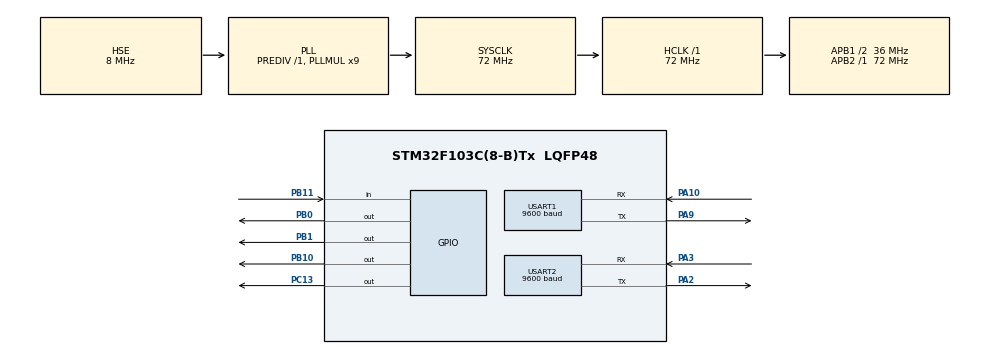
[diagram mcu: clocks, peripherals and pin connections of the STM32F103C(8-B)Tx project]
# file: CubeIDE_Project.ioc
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Mcu.Family=STM32F1
Mcu.Name=STM32F103C(8-B)Tx
Mcu.Package=LQFP48
NVIC.PriorityGroup=NVIC_PRIORITYGROUP_4
NVIC.TIM3_IRQn=true\:3\:0\:true\:false\:true\:true\:true\:true
NVIC.USART2_IRQn=true\:2\:0\:true\:false\:true\:true\:true\:true
PA10.Mode=Asynchronous
PA10.Signal=USART1_RX
PA13.Mode=Serial_Wire
PA13.Signal=SYS_JTMS-SWDIO
PA14.Mode=Serial_Wire
PA14.Signal=SYS_JTCK-SWCLK
PA2.Mode=Asynchronous
PA2.Signal=USART2_TX
PA3.Mode=Asynchronous
PA3.Signal=USART2_RX
PA9.Mode=Asynchronous
PA9.Signal=USART1_TX
PB0.Signal=GPIO_Output
PB1.Signal=GPIO_Output
PB10.Signal=GPIO_Output
PB11.GPIO_PuPd=GPIO_PULLUP
PB11.Signal=GPIO_Input
PC13-TAMPER-RTC.Signal=GPIO_Output
PD0-OSC_IN.Mode=HSE-External-Oscillator
PD0-OSC_IN.Signal=RCC_OSC_IN
PD1-OSC_OUT.Mode=HSE-External-Oscillator
PD1-OSC_OUT.Signal=RCC_OSC_OUT
ProjectManager.HeapSize=0x200
ProjectManager.StackSize=0x400
ProjectManager.TargetToolchain=STM32CubeIDE
RCC.AHBFreq_Value=72000000
RCC.APB1CLKDivider=RCC_HCLK_DIV2
RCC.APB1Freq_Value=36000000
RCC.APB1TimFreq_Value=72000000
RCC.APB2Freq_Value=72000000
RCC.APB2TimFreq_Value=72000000
RCC.HCLKFreq_Value=72000000
RCC.PLLMUL=RCC_PLL_MUL9
RCC.PLLSourceVirtual=RCC_PLLSOURCE_HSE
RCC.SYSCLKFreq_VALUE=72000000
RCC.SYSCLKSource=RCC_SYSCLKSOURCE_PLLCLK
RCC.USBFreq_Value=72000000
TIM3.AutoReloadPreload=TIM_AUTORELOAD_PRELOAD_ENABLE
TIM3.Period=999
TIM3.Prescaler=71
USART1.BaudRate=9600
USART1.VirtualMode=VM_ASYNC
USART2.BaudRate=9600
USART2.VirtualMode=VM_ASYNC
VP_TIM3_VS_ClockSourceINT.Mode=Internal
board=custom

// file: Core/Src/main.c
/* USER CODE BEGIN Header */
/**
  ******************************************************************************
  * @file           : main.c
  * @brief          : Main program body
  ******************************************************************************
  * @attention
  *
  * Copyright (c) 2026 STMicroelectronics.
  * All rights reserved.
  *
  * This software is licensed under terms that can be found in the LICENSE file
  * in the root directory of this software component.
  * If no LICENSE file comes with this software, it is provided AS-IS.
  *
  ******************************************************************************
  */
/* USER CODE END Header */
#include "main.h"
#include "tim.h"
#include "usart.h"
#include "gpio.h"

/* USER CODE BEGIN Includes */
#include "reader_hal.h"
#include "stdio.h"
/* USER CODE END Includes */

void SystemClock_Config(void);

/* USER CODE BEGIN 0 */

// 简易协议测试函数
void SC_Protocol_Test(void)
{
    uint8_t data = 0;
    // 卡复位流程
    printf("智能卡复位\r\n");
    SC_VCC_ON(); HAL_Delay(100);
    SC_CLK_ON(); HAL_Delay(100);
    SC_RST_HIGH(); SC_IO_IN();
    SC_Timeout_Start(500);
    // 模拟接收ATR
    for(uint8_t i=0; i<5; i++) { SC_RecvByte(&data); HAL_Delay(50); }
    SC_Timeout_Stop();
    // APDU指令发送
    printf("APDU交互\r\n");
    uint8_t apdu[] = {0x00,0xA4,0x00,0x00,0x02,0x3F,0x00};
    for(uint8_t i=0; i<7; i++) { SC_SendByte(apdu[i]); HAL_Delay(50); }
    SC_RecvByte(&data); SC_RecvByte(&data);
    printf("交互完成\r\n\r\n");
}

/* USER CODE END 0 */

int main(void)
{

  /* USER CODE BEGIN 1 */
  READER_HAL_CommSettings sc_comm = {0};
  /* USER CODE END 1 */

  /* MCU Configuration--------------------------------------------------------*/

  /* Reset of all peripherals, Initializes the Flash interface and the Systick. */
  HAL_Init();

  /* Configure the system clock */
  SystemClock_Config();

  /* Initialize all configured peripherals */
  MX_GPIO_Init();
  MX_USART2_UART_Init();
  MX_TIM3_Init();
  MX_USART1_UART_Init();
  /* USER CODE BEGIN 2 */

  READER_HAL_InitWithDefaults(&sc_comm);
  SC_Protocol_Test();
  /* USER CODE END 2 */

  /* Infinite loop */
  /* USER CODE BEGIN WHILE */
  while (1)
  {
	 HAL_Delay(3000);
	 SC_Protocol_Test();
    /* USER CODE END WHILE */

  }
}

void SystemClock_Config(void)
{
  RCC_OscInitTypeDef RCC_OscInitStruct = {0};
  RCC_ClkInitTypeDef RCC_ClkInitStruct = {0};

  /** Initializes the RCC Oscillators according to the specified parameters
  * in the RCC_OscInitTypeDef structure.
  */
  RCC_OscInitStruct.OscillatorType = RCC_OSCILLATORTYPE_HSE;
  RCC_OscInitStruct.HSEState = RCC_HSE_ON;
  RCC_OscInitStruct.HSEPredivValue = RCC_HSE_PREDIV_DIV1;
  RCC_OscInitStruct.HSIState = RCC_HSI_ON;
  RCC_OscInitStruct.PLL.PLLState = RCC_PLL_ON;
  RCC_OscInitStruct.PLL.PLLSource = RCC_PLLSOURCE_HSE;
  RCC_OscInitStruct.PLL.PLLMUL = RCC_PLL_MUL9;
  if (HAL_RCC_OscConfig(&RCC_OscInitStruct) != HAL_OK)
  {
    Error_Handler();
  }

  /** Initializes the CPU, AHB and APB buses clocks
  */
  RCC_ClkInitStruct.ClockType = RCC_CLOCKTYPE_HCLK|RCC_CLOCKTYPE_SYSCLK
                              |RCC_CLOCKTYPE_PCLK1|RCC_CLOCKTYPE_PCLK2;
  RCC_ClkInitStruct.SYSCLKSource = RCC_SYSCLKSOURCE_PLLCLK;
  RCC_ClkInitStruct.AHBCLKDivider = RCC_SYSCLK_DIV1;
  RCC_ClkInitStruct.APB1CLKDivider = RCC_HCLK_DIV2;
  RCC_ClkInitStruct.APB2CLKDivider = RCC_HCLK_DIV1;

  if (HAL_RCC_ClockConfig(&RCC_ClkInitStruct, FLASH_LATENCY_2) != HAL_OK)
  {
    Error_Handler();
  }
}

void Error_Handler(void)
{
  __disable_irq();
  while (1)
  {
  }
}
